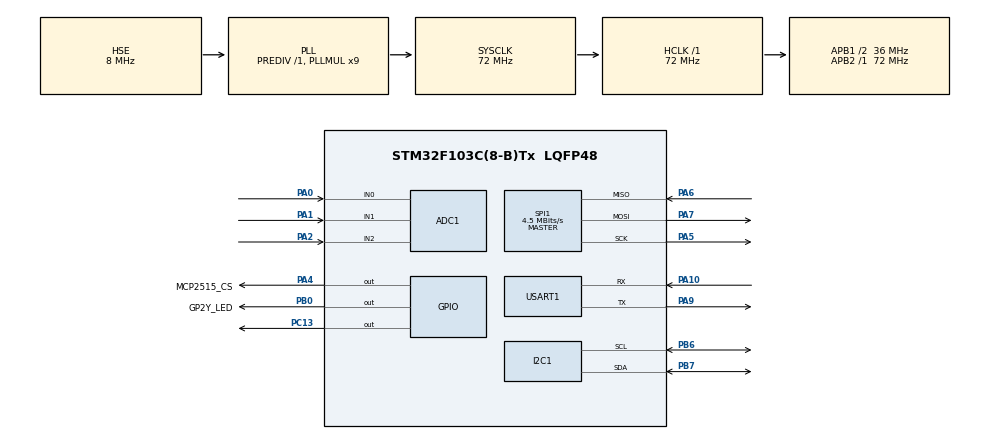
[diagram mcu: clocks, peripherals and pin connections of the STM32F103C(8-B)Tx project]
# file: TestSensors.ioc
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ADC1.Channel-0\#ChannelRegularConversion=ADC_CHANNEL_0
ADC1.NbrOfConversion=1
ADC1.NbrOfConversionFlag=1
ADC1.Rank-0\#ChannelRegularConversion=1
ADC1.SamplingTime-0\#ChannelRegularConversion=ADC_SAMPLETIME_239CYCLES_5
ADC1.master=1
Mcu.Family=STM32F1
Mcu.Name=STM32F103C(8-B)Tx
Mcu.Package=LQFP48
NVIC.PriorityGroup=NVIC_PRIORITYGROUP_4
PA0-WKUP.Signal=ADCx_IN0
PA1.Signal=ADCx_IN1
PA10.Mode=Asynchronous
PA10.Signal=USART1_RX
PA13.Mode=Serial_Wire
PA13.Signal=SYS_JTMS-SWDIO
PA14.Mode=Serial_Wire
PA14.Signal=SYS_JTCK-SWCLK
PA2.Signal=ADCx_IN2
PA4.GPIO_Label=MCP2515_CS
PA4.GPIO_Speed=GPIO_SPEED_FREQ_HIGH
PA4.PinState=GPIO_PIN_SET
PA4.Signal=GPIO_Output
PA5.Mode=Full_Duplex_Master
PA5.Signal=SPI1_SCK
PA6.Mode=Full_Duplex_Master
PA6.Signal=SPI1_MISO
PA7.Mode=Full_Duplex_Master
PA7.Signal=SPI1_MOSI
PA9.Mode=Asynchronous
PA9.Signal=USART1_TX
PB0.GPIO_Label=GP2Y_LED
PB0.GPIO_Speed=GPIO_SPEED_FREQ_HIGH
PB0.PinState=GPIO_PIN_SET
PB0.Signal=GPIO_Output
PB6.Mode=I2C
PB6.Signal=I2C1_SCL
PB7.Mode=I2C
PB7.Signal=I2C1_SDA
PC13-TAMPER-RTC.Signal=GPIO_Output
PD0-OSC_IN.Mode=HSE-External-Oscillator
PD0-OSC_IN.Signal=RCC_OSC_IN
PD1-OSC_OUT.Mode=HSE-External-Oscillator
PD1-OSC_OUT.Signal=RCC_OSC_OUT
ProjectManager.HeapSize=0x200
ProjectManager.StackSize=0x400
ProjectManager.TargetToolchain=MDK-ARM V5.32
RCC.ADCPresc=RCC_ADCPCLK2_DIV6
RCC.AHBFreq_Value=72000000
RCC.APB1CLKDivider=RCC_HCLK_DIV2
RCC.APB1Freq_Value=36000000
RCC.APB1TimFreq_Value=72000000
RCC.APB2Freq_Value=72000000
RCC.APB2TimFreq_Value=72000000
RCC.HCLKFreq_Value=72000000
RCC.PLLMUL=RCC_PLL_MUL9
RCC.PLLSourceVirtual=RCC_PLLSOURCE_HSE
RCC.SYSCLKFreq_VALUE=72000000
RCC.SYSCLKSource=RCC_SYSCLKSOURCE_PLLCLK
RCC.USBFreq_Value=72000000
SH.ADCx_IN0.0=ADC1_IN0,IN0
SH.ADCx_IN1.0=ADC1_IN1,IN1
SH.ADCx_IN2.0=ADC1_IN2,IN2
SPI1.BaudRatePrescaler=SPI_BAUDRATEPRESCALER_16
SPI1.CalculateBaudRate=4.5 MBits/s
SPI1.Direction=SPI_DIRECTION_2LINES
SPI1.Mode=SPI_MODE_MASTER
SPI1.VirtualType=VM_MASTER
USART1.VirtualMode=VM_ASYNC
board=custom

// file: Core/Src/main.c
/* USER CODE BEGIN Header */
/**
  ******************************************************************************
  * @file           : main.c
  * @brief          : Main program body
  ******************************************************************************
  * @attention
  *
  * Copyright (c) 2026 STMicroelectronics.
  * All rights reserved.
  *
  * This software is licensed under terms that can be found in the LICENSE file
  * in the root directory of this software component.
  * If no LICENSE file comes with this software, it is provided AS-IS.
  *
  ******************************************************************************
  */
/* USER CODE END Header */
#include "main.h"

/* USER CODE BEGIN Includes */
#include "ens160.h"
#include "mcp2515.h"
#include <stdio.h>
#include <string.h>
#include <math.h>     /* Thêm thư viện toán học */
#include <stdlib.h>   /* Thêm thư viện chuẩn */
/* USER CODE END Includes */

ADC_HandleTypeDef hadc1;

I2C_HandleTypeDef hi2c1;

SPI_HandleTypeDef hspi1;

UART_HandleTypeDef huart1;

/* USER CODE BEGIN PV */

//ENS160_Data  ens_data;    /* eco2 (ppm), tvoc (ppb)*/
//AHT21_Data   aht_data;    /* temp_x10, humi_x10 */
//uint16_t adc_gp2y  = 0;
//uint16_t adc_mq7   = 0;
//uint16_t adc_mq135 = 0;
//uint8_t can_frame0[8];
//uint8_t can_frame1[6];
//char dbg[64];            /* THEM DONG NAY */

ENS160_Data  ens_data  = {0};
AHT21_Data   aht_data  = {0};
uint16_t adc_gp2y  = 0;
uint16_t adc_mq7   = 0;
uint16_t adc_mq135 = 0;
uint8_t can_frame0[8];
uint8_t can_frame1[6];
char dbg[64];
/* USER CODE END PV */

void SystemClock_Config(void);
static void MX_GPIO_Init(void);
static void MX_ADC1_Init(void);
static void MX_I2C1_Init(void);
static void MX_SPI1_Init(void);
static void MX_USART1_UART_Init(void);
/* USER CODE BEGIN PFP */

/* Doc ADC 3 kenh tuan tu: GP2Y(PA0), MQ7(PA1), MQ135(PA2) */
static void Read_ADC_All(void);
/* Tao ham delay micro-giay dung DWT, dung cho GP2Y timing */
static void DWT_Init(void);
static void DWT_Delay_us(uint32_t us);
/* �oc GP2Y voi dung timing pulse LED */
static uint16_t Read_GP2Y(void);
/* Dong goi du lieu vao 2 CAN frame va gui */
static void CAN_SendFrames(void);

static void UART_Print(const char *msg);   /* THEM MOI */
/* USER CODE END PFP */

int main(void)
{

  /* MCU Configuration--------------------------------------------------------*/

  /* Reset of all peripherals, Initializes the Flash interface and the Systick. */
  HAL_Init();

  /* Configure the system clock */
  SystemClock_Config();

  /* Initialize all configured peripherals */
  MX_GPIO_Init();
  MX_ADC1_Init();
  MX_I2C1_Init();
  MX_SPI1_Init();
  MX_USART1_UART_Init();
  /* USER CODE BEGIN 2 */
	DWT_Init();
	//char dbg[64];

	/* --- Init ENS160 --- */
	if (ENS160_Init() != ENS160_OK) {
			UART_Print("ENS160 INIT FAIL\r\n");
			while (1) { HAL_GPIO_TogglePin(GPIOC, GPIO_PIN_13); HAL_Delay(200); }
	}
	UART_Print("ENS160 INIT OK\r\n");

	/* --- Init AHT21 --- */
	if (AHT21_Init() != ENS160_OK) {
			UART_Print("AHT21 INIT FAIL\r\n");
			while (1) { HAL_GPIO_TogglePin(GPIOC, GPIO_PIN_13); HAL_Delay(500); }
	}
	UART_Print("AHT21 INIT OK\r\n");

	/* --- Init MCP2515 --- */
	if (MCP2515_Init() != 1) {
			UART_Print("MCP2515 INIT FAIL\r\n");
			while (1) { HAL_GPIO_TogglePin(GPIOC, GPIO_PIN_13); HAL_Delay(100); }
	}
	UART_Print("MCP2515 INIT OK\r\n");
	UART_Print("--- Bat dau doc cam bien ---\r\n");

  /* USER CODE END 2 */

  /* Infinite loop */
  while (1)
  {

    /* USER CODE BEGIN 3 */
			Read_ADC_All();
			//ENS160_Read(&ens_data);
			ENS160_Status ens_status = ENS160_Read(&ens_data);
			if (ens_status == ENS160_ERROR)
			{
					UART_Print("ENS160 READ ERROR\r\n");
			}
			AHT21_Read(&aht_data);
			/* THEM: log raw de kiem tra */
			sprintf(dbg, "Temp_x10:%d  Humi_x10:%u\r\n",
							aht_data.temp_x10, aht_data.humi_x10);
			UART_Print(dbg);
			/* Log gia tri cam bien */
			sprintf(dbg, "CO2:%u ppm  TVOC:%u ppb\r\n",
							ens_data.eco2, ens_data.tvoc);
			UART_Print(dbg);

			sprintf(dbg, "Temp:%d.%d C  Humi:%d.%d%%\r\n",
							aht_data.temp_x10 / 10, aht_data.temp_x10 % 10,
							aht_data.humi_x10 / 10, aht_data.humi_x10 % 10);
			UART_Print(dbg);

			sprintf(dbg, "GP2Y:%u  MQ7:%u  MQ135:%u\r\n",
							adc_gp2y, adc_mq7, adc_mq135);
			UART_Print(dbg);

			/* Gui CAN */
			CAN_SendFrames();

			UART_Print("---\r\n");
			HAL_Delay(1000);
  }
  /* USER CODE END 3 */
}

void SystemClock_Config(void)
{
  RCC_OscInitTypeDef RCC_OscInitStruct = {0};
  RCC_ClkInitTypeDef RCC_ClkInitStruct = {0};
  RCC_PeriphCLKInitTypeDef PeriphClkInit = {0};

  /** Initializes the RCC Oscillators according to the specified parameters
  * in the RCC_OscInitTypeDef structure.
  */
  RCC_OscInitStruct.OscillatorType = RCC_OSCILLATORTYPE_HSE;
  RCC_OscInitStruct.HSEState = RCC_HSE_ON;
  RCC_OscInitStruct.HSEPredivValue = RCC_HSE_PREDIV_DIV1;
  RCC_OscInitStruct.HSIState = RCC_HSI_ON;
  RCC_OscInitStruct.PLL.PLLState = RCC_PLL_ON;
  RCC_OscInitStruct.PLL.PLLSource = RCC_PLLSOURCE_HSE;
  RCC_OscInitStruct.PLL.PLLMUL = RCC_PLL_MUL9;
  if (HAL_RCC_OscConfig(&RCC_OscInitStruct) != HAL_OK)
  {
    Error_Handler();
  }

  /** Initializes the CPU, AHB and APB buses clocks
  */
  RCC_ClkInitStruct.ClockType = RCC_CLOCKTYPE_HCLK|RCC_CLOCKTYPE_SYSCLK
                              |RCC_CLOCKTYPE_PCLK1|RCC_CLOCKTYPE_PCLK2;
  RCC_ClkInitStruct.SYSCLKSource = RCC_SYSCLKSOURCE_PLLCLK;
  RCC_ClkInitStruct.AHBCLKDivider = RCC_SYSCLK_DIV1;
  RCC_ClkInitStruct.APB1CLKDivider = RCC_HCLK_DIV2;
  RCC_ClkInitStruct.APB2CLKDivider = RCC_HCLK_DIV1;

  if (HAL_RCC_ClockConfig(&RCC_ClkInitStruct, FLASH_LATENCY_2) != HAL_OK)
  {
    Error_Handler();
  }
  PeriphClkInit.PeriphClockSelection = RCC_PERIPHCLK_ADC;
  PeriphClkInit.AdcClockSelection = RCC_ADCPCLK2_DIV6;
  if (HAL_RCCEx_PeriphCLKConfig(&PeriphClkInit) != HAL_OK)
  {
    Error_Handler();
  }
}

static void MX_ADC1_Init(void)
{

  ADC_ChannelConfTypeDef sConfig = {0};

  /** Common config
  */
  hadc1.Instance = ADC1;
  hadc1.Init.ScanConvMode = ADC_SCAN_DISABLE;
  hadc1.Init.ContinuousConvMode = DISABLE;
  hadc1.Init.DiscontinuousConvMode = DISABLE;
  hadc1.Init.ExternalTrigConv = ADC_SOFTWARE_START;
  hadc1.Init.DataAlign = ADC_DATAALIGN_RIGHT;
  hadc1.Init.NbrOfConversion = 1;
  if (HAL_ADC_Init(&hadc1) != HAL_OK)
  {
    Error_Handler();
  }

  /** Configure Regular Channel
  */
  sConfig.Channel = ADC_CHANNEL_0;
  sConfig.Rank = ADC_REGULAR_RANK_1;
  sConfig.SamplingTime = ADC_SAMPLETIME_239CYCLES_5;
  if (HAL_ADC_ConfigChannel(&hadc1, &sConfig) != HAL_OK)
  {
    Error_Handler();
  }

}

static void MX_I2C1_Init(void)
{

  hi2c1.Instance = I2C1;
  hi2c1.Init.ClockSpeed = 100000;
  hi2c1.Init.DutyCycle = I2C_DUTYCYCLE_2;
  hi2c1.Init.OwnAddress1 = 0;
  hi2c1.Init.AddressingMode = I2C_ADDRESSINGMODE_7BIT;
  hi2c1.Init.DualAddressMode = I2C_DUALADDRESS_DISABLE;
  hi2c1.Init.OwnAddress2 = 0;
  hi2c1.Init.GeneralCallMode = I2C_GENERALCALL_DISABLE;
  hi2c1.Init.NoStretchMode = I2C_NOSTRETCH_DISABLE;
  if (HAL_I2C_Init(&hi2c1) != HAL_OK)
  {
    Error_Handler();
  }

}

static void MX_SPI1_Init(void)
{

  /* SPI1 parameter configuration*/
  hspi1.Instance = SPI1;
  hspi1.Init.Mode = SPI_MODE_MASTER;
  hspi1.Init.Direction = SPI_DIRECTION_2LINES;
  hspi1.Init.DataSize = SPI_DATASIZE_8BIT;
  hspi1.Init.CLKPolarity = SPI_POLARITY_LOW;
  hspi1.Init.CLKPhase = SPI_PHASE_1EDGE;
  hspi1.Init.NSS = SPI_NSS_SOFT;
  hspi1.Init.BaudRatePrescaler = SPI_BAUDRATEPRESCALER_16;
  hspi1.Init.FirstBit = SPI_FIRSTBIT_MSB;
  hspi1.Init.TIMode = SPI_TIMODE_DISABLE;
  hspi1.Init.CRCCalculation = SPI_CRCCALCULATION_DISABLE;
  hspi1.Init.CRCPolynomial = 10;
  if (HAL_SPI_Init(&hspi1) != HAL_OK)
  {
    Error_Handler();
  }

}

static void MX_USART1_UART_Init(void)
{

  huart1.Instance = USART1;
  huart1.Init.BaudRate = 115200;
  huart1.Init.WordLength = UART_WORDLENGTH_8B;
  huart1.Init.StopBits = UART_STOPBITS_1;
  huart1.Init.Parity = UART_PARITY_NONE;
  huart1.Init.Mode = UART_MODE_TX_RX;
  huart1.Init.HwFlowCtl = UART_HWCONTROL_NONE;
  huart1.Init.OverSampling = UART_OVERSAMPLING_16;
  if (HAL_UART_Init(&huart1) != HAL_OK)
  {
    Error_Handler();
  }

}

static void MX_GPIO_Init(void)
{
  GPIO_InitTypeDef GPIO_InitStruct = {0};

  /* GPIO Ports Clock Enable */
  __HAL_RCC_GPIOC_CLK_ENABLE();
  __HAL_RCC_GPIOD_CLK_ENABLE();
  __HAL_RCC_GPIOA_CLK_ENABLE();
  __HAL_RCC_GPIOB_CLK_ENABLE();

  /*Configure GPIO pin Output Level */
  HAL_GPIO_WritePin(GPIOC, GPIO_PIN_13, GPIO_PIN_RESET);

  /*Configure GPIO pin Output Level */
  HAL_GPIO_WritePin(MCP2515_CS_GPIO_Port, MCP2515_CS_Pin, GPIO_PIN_SET);

  /*Configure GPIO pin Output Level */
  HAL_GPIO_WritePin(GP2Y_LED_GPIO_Port, GP2Y_LED_Pin, GPIO_PIN_SET);

  /*Configure GPIO pin : PC13 */
  GPIO_InitStruct.Pin = GPIO_PIN_13;
  GPIO_InitStruct.Mode = GPIO_MODE_OUTPUT_PP;
  GPIO_InitStruct.Pull = GPIO_NOPULL;
  GPIO_InitStruct.Speed = GPIO_SPEED_FREQ_LOW;
  HAL_GPIO_Init(GPIOC, &GPIO_InitStruct);

  /*Configure GPIO pin : MCP2515_CS_Pin */
  GPIO_InitStruct.Pin = MCP2515_CS_Pin;
  GPIO_InitStruct.Mode = GPIO_MODE_OUTPUT_PP;
  GPIO_InitStruct.Pull = GPIO_NOPULL;
  GPIO_InitStruct.Speed = GPIO_SPEED_FREQ_HIGH;
  HAL_GPIO_Init(MCP2515_CS_GPIO_Port, &GPIO_InitStruct);

  /*Configure GPIO pin : GP2Y_LED_Pin */
  GPIO_InitStruct.Pin = GP2Y_LED_Pin;
  GPIO_InitStruct.Mode = GPIO_MODE_OUTPUT_PP;
  GPIO_InitStruct.Pull = GPIO_NOPULL;
  GPIO_InitStruct.Speed = GPIO_SPEED_FREQ_HIGH;
  HAL_GPIO_Init(GP2Y_LED_GPIO_Port, &GPIO_InitStruct);

}

/* USER CODE BEGIN 4 */

/* --- UART Print --- */
	static void UART_Print(const char *msg)
	{
			HAL_UART_Transmit(&huart1, (uint8_t*)msg, strlen(msg), 100);
	}

	/* --- DWT --- */
	static void DWT_Init(void)
	{
			CoreDebug->DEMCR |= CoreDebug_DEMCR_TRCENA_Msk;
			DWT->CYCCNT = 0;
			DWT->CTRL  |= DWT_CTRL_CYCCNTENA_Msk;
	}

	static void DWT_Delay_us(uint32_t us)
	{
			uint32_t start = DWT->CYCCNT;
			uint32_t ticks = us * (SystemCoreClock / 1000000UL);
			while ((DWT->CYCCNT - start) < ticks);
	}

	/* ==================================================================== */
	/* CÁC HÀM TÍNH TOÁN CẢM BIẾN (TỪ ARDUINO CHUYỂN SANG)                  */
	/* ==================================================================== */

	const float CURVE_K = 2.10609f; // Tính sẵn: log(9.0/3.0) / log(1095.0/650.0)

	static float Calc_CO_Ugm3(float adc_val) {
			if (adc_val < 1.0f) adc_val = 1.0f;
			float ppm = 3.0f * pow((adc_val / 650.0f), CURVE_K);
			if (ppm < 0) ppm = 0;
			return (ppm * 1145.0f); // Trả về ug/m3
	}

	static float Calc_NO2_Ugm3(float adc_val) {
			// Linear mapping theo công thức ESP32
			float no2 = 40.0f + (adc_val - 950.0f) * (200.0f - 40.0f) / (2500.0f - 950.0f);
			if (no2 < 0) no2 = 0;
			return no2;
	}

	static float Calc_Dust_PM25(uint16_t adc_val) {
			// Tính toán cho hệ 3.3V của STM32
			float voltage = adc_val * (3.3f / 4095.0f);
			float dustDensity = (voltage - 0.0f) / 0.5f; // mg/m3
			if (dustDensity < 0) dustDensity = 0;
			return dustDensity;
	}

	/* ==================================================================== */
	/* HÀM ĐỌC ADC CÓ AVERAGING TƯƠNG TỰ ESP32                              */
	/* ==================================================================== */

	/* Đọc 1 kênh ADC nhiều lần và lấy trung bình để khử nhiễu cho MQ */
	static uint16_t Read_ADC_Avg(uint32_t channel, int samples)
	{
			ADC_ChannelConfTypeDef sConfig = {0};
			sConfig.Channel      = channel;
			sConfig.Rank         = ADC_REGULAR_RANK_1;
			sConfig.SamplingTime = ADC_SAMPLETIME_239CYCLES_5;
			HAL_ADC_ConfigChannel(&hadc1, &sConfig);

			uint32_t sum = 0;
			for (int i = 0; i < samples; i++) {
					HAL_ADC_Start(&hadc1);
					if(HAL_ADC_PollForConversion(&hadc1, 10) == HAL_OK) {
							sum += HAL_ADC_GetValue(&hadc1);
					}
					HAL_ADC_Stop(&hadc1);
					HAL_Delay(5); // Delay 5ms giữa các lần đọc giống ESP32
			}
			return (uint16_t)(sum / samples);
	}

	static uint16_t Read_GP2Y(void)
	{
			uint16_t adc_val = 0;
			HAL_GPIO_WritePin(GPIOB, GPIO_PIN_0, GPIO_PIN_RESET);
			DWT_Delay_us(280);

			ADC_ChannelConfTypeDef sConfig = {0};
			sConfig.Channel      = ADC_CHANNEL_0;
			sConfig.Rank         = ADC_REGULAR_RANK_1;
			sConfig.SamplingTime = ADC_SAMPLETIME_239CYCLES_5;
			HAL_ADC_ConfigChannel(&hadc1, &sConfig);

			HAL_ADC_Start(&hadc1);
			if(HAL_ADC_PollForConversion(&hadc1, 10) == HAL_OK) {
					adc_val = HAL_ADC_GetValue(&hadc1);
			}
			HAL_ADC_Stop(&hadc1);

			HAL_GPIO_WritePin(GPIOB, GPIO_PIN_0, GPIO_PIN_SET);
			DWT_Delay_us(9720);
			return adc_val;
	}

	static void Read_ADC_All(void)
	{
			// GP2Y có timing riêng, đọc 1 lần
			adc_gp2y = Read_GP2Y();

			// MQ7 (Channel 1) - Lấy trung bình 20 lần
			adc_mq7 = Read_ADC_Avg(ADC_CHANNEL_1, 20);

			// MQ135 (Channel 2) - Lấy trung bình 20 lần
			adc_mq135 = Read_ADC_Avg(ADC_CHANNEL_2, 20);
	}

	/* ==================================================================== */
	/* JSON & CAN GỬI DỮ LIỆU ĐÃ CONVERT SANG ĐƠN VỊ THỰC TẾ              */
	/* ==================================================================== */
	static void CAN_SendJson(const char *json_str)
	{
			uint8_t totalLen = strlen(json_str);
			if (totalLen == 0 || totalLen > 250) return;

			uint8_t seq = 0;
			uint8_t offset = 0;
			uint8_t data[8];

			while (offset < totalLen) {
					memset(data, 0, 8);
					data[0] = seq;
					data[1] = totalLen;

					uint8_t chunkLen = totalLen - offset;
					if (chunkLen > 6) chunkLen = 6;

					for (uint8_t i = 0; i < chunkLen; i++) {
							data[2 + i] = (uint8_t)json_str[offset + i];
					}

					uint8_t result = MCP2515_TransmitMsg(0x555, 8, data);
					if (!result) {
							UART_Print("CAN TX JSON FAIL\r\n");
							return;
					}
					offset += chunkLen;
					seq++;
					HAL_Delay(5);
			}
			UART_Print("CAN TX JSON OK\r\n");
	}

	/* MACRO an toàn để tách số thực thành số nguyên khi dùng sprintf */
	#define FLT_INT(x)   ((int)(x))
	#define FLT_FRAC1(x) (abs((int)(((x) - (int)(x)) * 10.0f)))
	#define FLT_FRAC3(x) (abs((int)(((x) - (int)(x)) * 1000.0f)))

	static void CAN_SendFrames(void)
	{
			char json_buffer[256];

			// 1. Áp dụng công thức chuyển đổi
			float final_pm25 = Calc_Dust_PM25(adc_gp2y);
			float final_co   = Calc_CO_Ugm3((float)adc_mq7);
			float final_no2  = Calc_NO2_Ugm3((float)adc_mq135);
			float battery_val = 85.0f; // Giá trị Pin mặc định 85.0%

			// 2. Build chuỗi JSON (Bổ sung key "battery" lên đầu chuỗi)
			snprintf(json_buffer, sizeof(json_buffer),
					"{\"battery\":%d.%d,\"pm25\":%d.%03d,\"co\":%d.%d,\"no2\":%d.%d,\"co2\":%u,\"tvoc\":%u,\"temp\":%d.%d,\"hum\":%d.%d}",
					FLT_INT(battery_val), FLT_FRAC1(battery_val),
					FLT_INT(final_pm25),  FLT_FRAC3(final_pm25),
					FLT_INT(final_co),    FLT_FRAC1(final_co),
					FLT_INT(final_no2),   FLT_FRAC1(final_no2),
					ens_data.eco2,
					ens_data.tvoc,
					aht_data.temp_x10 / 10, aht_data.temp_x10 % 10,
					aht_data.humi_x10 / 10, aht_data.humi_x10 % 10
			);

			// In ra Serial để theo dõi
			//sprintf(dbg, "JSON Data: %s\r\n", json_buffer);
			//UART_Print(dbg);
			UART_Print("JSON Data: ");
			UART_Print(json_buffer);
			UART_Print("\r\n");

			// 3. Gửi qua CAN
			CAN_SendJson(json_buffer);
	}
/* USER CODE END 4 */

void Error_Handler(void)
{
  __disable_irq();
  while (1)
  {
  }
}
